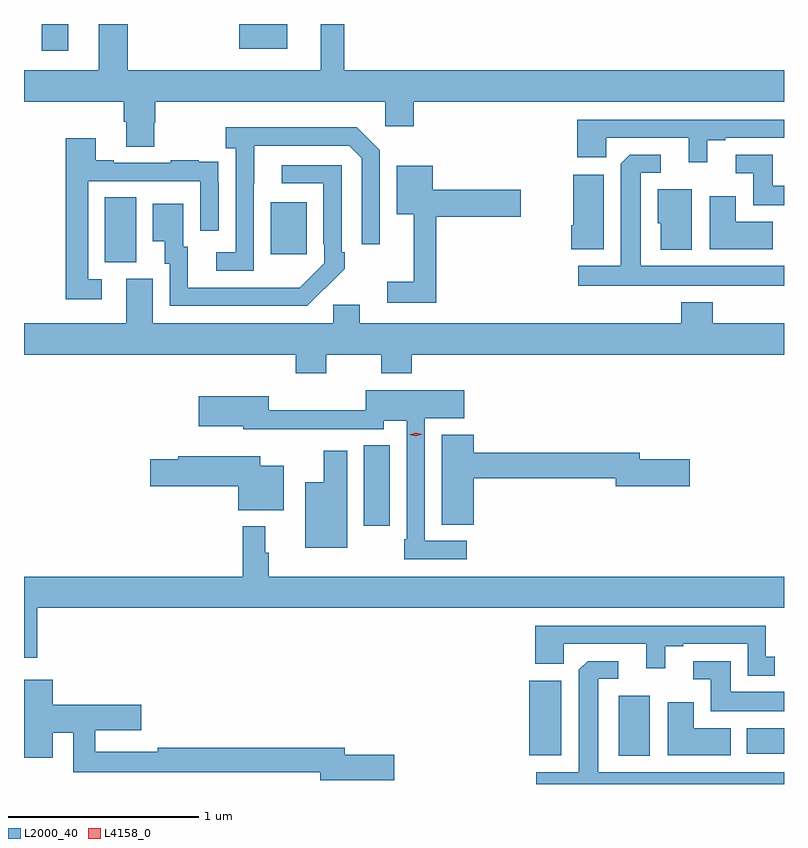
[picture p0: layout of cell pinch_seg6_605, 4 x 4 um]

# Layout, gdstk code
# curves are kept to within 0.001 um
import gdstk
lib = gdstk.Library(unit=1e-6, precision=1e-09)
def R(c, l, rs):  # rectangles x0, y0, x1, y1
    for r in rs: c.add(gdstk.rectangle(r[:2], r[2:], *l))
def P(c, l, *ps):  # polygons
    for p in ps: c.add(gdstk.Polygon(p, *l))
L2000_40 = (2000, 40)
L4158_0 = (4158, 0)

pinch_seg6_605 = lib.new_cell('pinch_seg6_605')
R(pinch_seg6_605, L2000_40, [(499.691,966.536,499.855,966.853), (499.22,966.539,499.39,966.931), (500.366,966.548,500.562,966.682), (498.35,967.746,498.487,968.171), (496.988,969.133,497.152,969.476), (497.861,969.177,498.049,969.451), (496.655,970.248,496.795,970.388)])
P(pinch_seg6_605, L2000_40, [(497.247,969.867),(497.252,969.867),(497.252,969.98),(498.462,969.98),(498.462,969.849),(498.614,969.849),(498.614,969.98),(500.562,969.98),(500.562,970.144),(498.247,970.144),(498.247,970.388),(498.125,970.388),(498.125,970.144),(497.108,970.144),(497.108,970.387),(496.955,970.387),(496.955,970.144),(496.562,970.144),(496.562,969.98),(497.087,969.98),(497.087,969.874),(497.099,969.874),(497.099,969.742),(497.247,969.742)],
  [(497.947,970.388),(497.678,970.388),(497.678,970.386),(497.696,970.386),(497.696,970.259),(497.947,970.259)],
  [(500.158,969.777),(500.254,969.777),(500.254,969.789),(500.562,969.789),(500.562,969.885),(499.475,969.885),(499.475,969.686),(499.626,969.686),(499.626,969.789),(500.06,969.789),(500.06,969.66),(500.158,969.66)],
  [(497.772,969.547),(497.773,969.747),(498.273,969.747),(498.339,969.681),(498.339,969.228),(498.435,969.228),(498.435,969.723),(498.314,969.844),(497.625,969.844),(497.625,969.734),(497.676,969.734),(497.676,969.186),(497.574,969.186),(497.574,969.09),(497.772,969.09)],
  [(496.972,969.045),(496.899,969.045),(496.899,969.561),(497.49,969.561),(497.49,969.3),(497.586,969.3),(497.586,969.554),(497.585,969.554),(497.585,969.663),(497.483,969.663),(497.483,969.67),(497.335,969.67),(497.335,969.657),(497.035,969.657),(497.035,969.67),(496.939,969.67),(496.939,969.787),(496.783,969.787),(496.783,968.94),(496.972,968.94)],
  [(500.562,969.538),(500.503,969.538),(500.503,969.699),(500.307,969.699),(500.307,969.603),(500.399,969.603),(500.399,969.434),(500.562,969.434)],
  [(500.562,969.115),(499.807,969.115),(499.807,969.606),(499.912,969.606),(499.912,969.699),(499.75,969.699),(499.704,969.653),(499.703,969.115),(499.479,969.115),(499.479,969.011),(500.562,969.011)],
  [(498.143,968.995),(498.144,968.994),(498.249,969.099),(498.249,969.187),(498.234,969.187),(498.234,969.645),(497.919,969.645),(497.919,969.549),(498.138,969.549),(498.138,969.229),(498.141,969.229),(498.141,969.129),(498.013,969.001),(497.425,969),(497.425,969.216),(497.401,969.216),(497.401,969.442),(497.24,969.442),(497.24,969.245),(497.303,969.245),(497.303,969.126),(497.328,969.126),(497.328,968.904),(498.052,968.904)],
  [(498.731,969.374),(499.177,969.374),(499.177,969.516),(498.712,969.516),(498.712,969.643),(498.524,969.643),(498.524,969.386),(498.614,969.386),(498.614,969.031),(498.474,969.031),(498.474,968.922),(498.731,968.922)],
  [(499.612,969.595),(499.454,969.595),(499.454,969.328),(499.442,969.328),(499.442,969.203),(499.612,969.203)],
  [(500.077,969.517),(499.898,969.517),(499.898,969.339),(499.913,969.339),(499.913,969.2),(500.077,969.2)],
  [(500.503,969.346),(500.308,969.346),(500.308,969.481),(500.171,969.481),(500.171,969.203),(500.503,969.203)],
  [(498.153,968.648),(498.442,968.648),(498.442,968.549),(498.602,968.549),(498.602,968.648),(500.562,968.648),(500.562,968.812),(500.186,968.812),(500.186,968.923),(500.021,968.923),(500.021,968.812),(498.328,968.812),(498.328,968.91),(498.189,968.91),(498.189,968.812),(497.239,968.812),(497.239,969.048),(497.099,969.048),(497.099,968.812),(496.562,968.812),(496.562,968.648),(497.993,968.648),(497.993,968.549),(498.153,968.549)],
  [(498.892,967.668),(498.672,967.668),(498.672,968.312),(498.88,968.312),(498.88,968.461),(498.36,968.461),(498.36,968.354),(497.851,968.354),(497.851,968.428),(497.481,968.428),(497.481,968.27),(497.715,968.27),(497.715,968.255),(497.947,968.255),(497.947,968.256),(498.456,968.256),(498.456,968.3),(498.576,968.3),(498.576,967.675),(498.564,967.675),(498.564,967.572),(498.892,967.572)],
  [(498.928,967.996),(499.676,967.996),(499.676,967.954),(500.065,967.954),(500.065,968.096),(499.804,968.096),(499.804,968.132),(498.928,968.132),(498.928,968.227),(498.761,968.227),(498.761,967.753),(498.928,967.753)],
  [(498.262,968.143),(498.14,968.143),(498.14,967.975),(498.041,967.975),(498.041,967.631),(498.262,967.631)],
  [(497.929,968.062),(497.806,968.062),(497.806,968.113),(497.375,968.113),(497.375,968.096),(497.226,968.096),(497.226,967.954),(497.69,967.954),(497.69,967.829),(497.929,967.829)],
  [(496.631,967.316),(500.562,967.316),(500.562,967.48),(497.849,967.48),(497.849,967.604),(497.831,967.604),(497.831,967.744),(497.713,967.744),(497.713,967.48),(496.562,967.48),(496.562,967.053),(496.631,967.053)],
  [(500.512,967.059),(500.466,967.059),(500.466,967.221),(499.253,967.221),(499.253,967.022),(499.404,967.022),(499.404,967.125),(499.838,967.125),(499.838,966.996),(499.936,966.996),(499.936,967.113),(500.032,967.113),(500.032,967.125),(500.37,967.125),(500.37,966.959),(500.512,966.959)],
  [(500.562,966.874),(500.281,966.874),(500.281,967.035),(500.085,967.035),(500.085,966.939),(500.177,966.939),(500.177,966.77),(500.562,966.77)],
  [(500.562,966.451),(499.585,966.451),(499.585,966.942),(499.69,966.942),(499.69,967.035),(499.528,967.035),(499.482,966.989),(499.481,966.451),(499.257,966.451),(499.257,966.388),(500.562,966.388)],
  [(498.511,966.542),(498.25,966.542),(498.25,966.578),(497.266,966.578),(497.266,966.558),(496.937,966.558),(496.937,966.671),(497.179,966.671),(497.179,966.806),(496.714,966.806),(496.714,966.937),(496.562,966.937),(496.562,966.527),(496.714,966.527),(496.714,966.659),(496.821,966.659),(496.821,966.45),(498.122,966.45),(498.122,966.407),(498.511,966.407)],
  [(500.281,966.682),(500.086,966.682),(500.086,966.817),(499.949,966.817),(499.949,966.539),(500.281,966.539)])
P(pinch_seg6_605, L4158_0, [(498.623,968.218),(498.589,968.227),(498.588,968.227),(498.589,968.227),(498.623,968.238),(498.658,968.229),(498.658,968.229),(498.658,968.229)])

lib.write_gds('pinch_seg6_605.gds')
